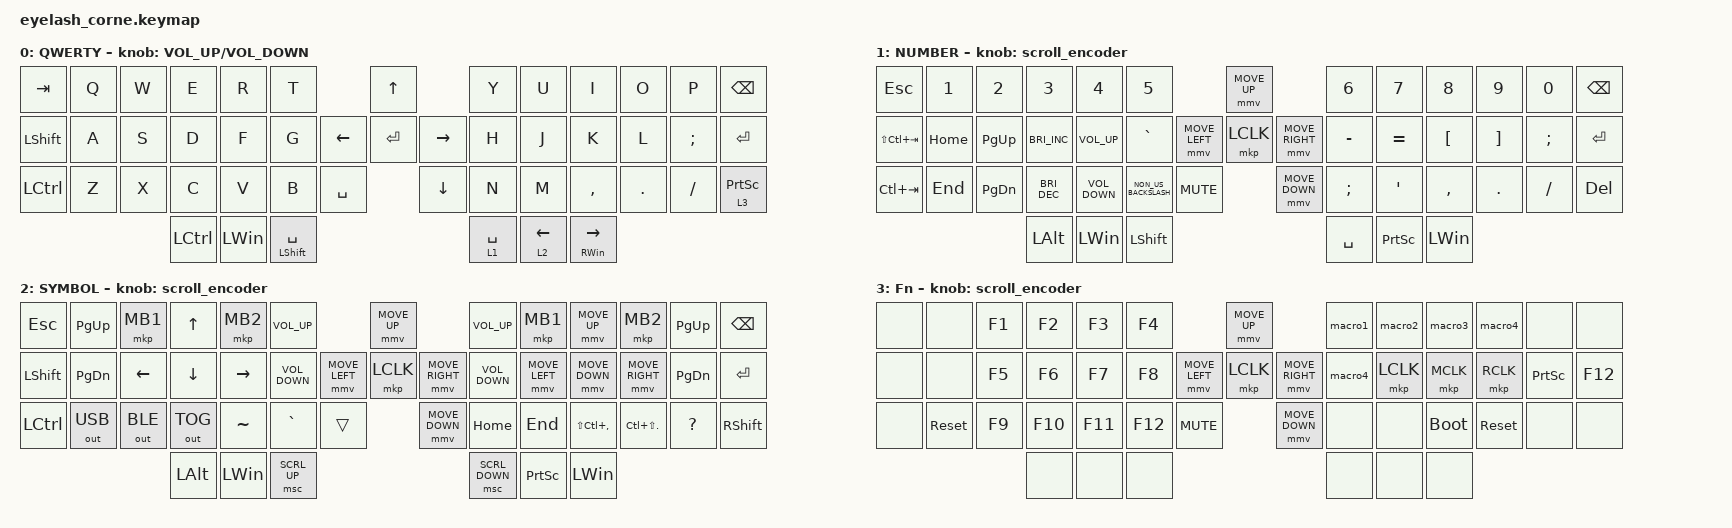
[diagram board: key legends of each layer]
#define ZMK_POINTING_DEFAULT_MOVE_VAL 1200  // 600
#define ZMK_POINTING_DEFAULT_SCRL_VAL 25   // 10

#include <input/processors.dtsi>
#include <zephyr/dt-bindings/input/input-event-codes.h>
#include <behaviors.dtsi>
#include <dt-bindings/zmk/keys.h>
#include <dt-bindings/zmk/outputs.h>
#include <dt-bindings/zmk/pointing.h>
#include <dt-bindings/zmk/rgb.h>

&mmv_input_listener { input-processors = <&zip_xy_scaler 2 1>; };

&msc_input_listener { input-processors = <&zip_scroll_scaler 2 1>; };

&msc {
    acceleration-exponent = <1>;      // 0
    time-to-max-speed-ms = <100>;       // 300
    delay-ms = <0>;                   // 0
};

&mmv {
    time-to-max-speed-ms = <500>;
    acceleration-exponent = <1>;
    trigger-period-ms = <16>;
};

/ {
    behaviors {
        td0: td0 {
            compatible = "zmk,behavior-tap-dance";
            display-name = "Shift/Caps Lock Tap Dance";
            #binding-cells = <0>;
            bindings = <&kp LEFT_SHIFT>, <&kp CAPS>;
        };
    };

    rgb_encoder: rgb_encoder {
        compatible = "zmk,behavior-sensor-rotate";
        #sensor-binding-cells = <0>;
        bindings = <&rgb_ug RGB_BRI>, <&rgb_ug RGB_BRD>;
    };

    scroll_encoder: scroll_encoder {
        compatible = "zmk,behavior-sensor-rotate";
        #sensor-binding-cells = <0>;
        bindings = <&msc SCRL_DOWN>, <&msc SCRL_UP>;

        tap-ms = <100>;
    };

    combos {
        compatible = "zmk,combos";

        qa-1 {
            bindings = <&kp NUMBER_1>;
            key-positions = <1 14>;
            timeout-ms = <50>;
            require-prior-idle-ms = <30>;
            layers = <0>;
        };

        ws-2 {
            bindings = <&kp NUMBER_2>;
            key-positions = <2 15>;
            timeout-ms = <50>;
            require-prior-idle-ms = <30>;
            layers = <0>;
        };

        ed-3 {
            bindings = <&kp NUMBER_3>;
            key-positions = <3 16>;
            timeout-ms = <50>;
            require-prior-idle-ms = <30>;
            layers = <0>;
        };

        rf-4 {
            bindings = <&kp NUMBER_4>;
            key-positions = <4 17>;
            timeout-ms = <50>;
            require-prior-idle-ms = <30>;
            layers = <0>;
        };

        tg-5 {
            bindings = <&kp N5>;
            key-positions = <5 18>;
            timeout-ms = <50>;
            require-prior-idle-ms = <30>;
            layers = <0>;
        };

        yh-6 {
            bindings = <&kp NUMBER_6>;
            key-positions = <7 22>;
            timeout-ms = <50>;
            require-prior-idle-ms = <30>;
            layers = <0>;
        };

        uj-7 {
            bindings = <&kp N7>;
            key-positions = <8 23>;
            timeout-ms = <50>;
            require-prior-idle-ms = <30>;
            layers = <0>;
        };

        ik-8 {
            bindings = <&kp N8>;
            key-positions = <9 24>;
            timeout-ms = <50>;
            require-prior-idle-ms = <30>;
            layers = <0>;
        };

        ol-9 {
            bindings = <&kp N9>;
            key-positions = <10 25>;
            timeout-ms = <50>;
            require-prior-idle-ms = <30>;
            layers = <0>;
        };

        pp-0 {
            bindings = <&kp N0>;
            key-positions = <11 26>;
            timeout-ms = <50>;
            require-prior-idle-ms = <30>;
            layers = <0>;
        };

        bsp {
            bindings = <&kp BACKSPACE>;
            key-positions = <11 10>;
            timeout-ms = <50>;
            require-prior-idle-ms = <30>;
            layers = <0>;
        };

        enter {
            bindings = <&kp RETURN>;
            key-positions = <25 26>;
            timeout-ms = <50>;
            require-prior-idle-ms = <30>;
            layers = <0>;
        };

        delete {
            bindings = <&kp DELETE>;
            key-positions = <9 11>;
            timeout-ms = <50>;
            require-prior-idle-ms = <30>;
            layers = <0>;
        };
    };

    macros {
        macro1: macro1 {
            compatible = "zmk,behavior-macro";
            #binding-cells = <0>;
            bindings = <&none &kp N1 &kp N7 &kp N7 &kp N1 &kp N0 &kp N2 &kp N8 &kp N3 &kp N5 &kp N1 &kp N2>;
            label = "MACRO1";
            wait-ms = <10>;
            tap-ms = <30>;
        };

        macro2: macro2 {
            compatible = "zmk,behavior-macro";
            #binding-cells = <0>;
            bindings = <&none &kp A &kp M &kp Y &kp V &kp O &kp I &kp C &kp E &kp AT &kp N1 &kp N6 &kp N3 &kp DOT &kp C &kp O &kp M>;
            label = "MACRO2";
            wait-ms = <10>;
            tap-ms = <30>;
        };

        macro3: macro3 {
            compatible = "zmk,behavior-macro";
            #binding-cells = <0>;
            bindings = <&none &kp LS(V) &kp LS(L) &kp LS(O) &kp LS(O) &kp LS(K) &kp LS(U) &kp LS(P) &kp LS(A) &kp N2 &kp COMMA &kp DLLR &kp LS(G) &kp DLLR &kp N1 &kp COLON &kp DLLR &kp LS(H) &kp DLLR &kp N1 &kp N5 &kp N8 &kp COMMA &kp N2 &kp COMMA &kp N0 &kp RPAR>;
            label = "MACRO3";
            wait-ms = <10>;
            tap-ms = <30>;
        };

        macro4: macro4 {
            compatible = "zmk,behavior-macro";
            #binding-cells = <0>;
            bindings = <&none &kp A &kp M &kp Y &kp V &kp O &kp I &kp C &kp E &kp C &kp H &kp E &kp N &kp N0 &kp N0 &kp N1 &kp AT &kp G &kp M &kp A &kp I &kp L &kp DOT &kp C &kp O &kp M>;
            label = "MACRO4";
            wait-ms = <10>;
            tap-ms = <30>;
        };
    };

    keymap {
        compatible = "zmk,keymap";

        default_layer {
            display-name = "QWERTY";
            bindings = <
&kp TAB         &kp Q  &kp W  &kp E      &kp R         &kp T                                        &kp UP                &kp Y        &kp U             &kp I                      &kp O    &kp P     &kp BSPC
&kp LEFT_SHIFT  &kp A  &kp S  &kp D      &kp F         &kp G                              &kp LEFT  &kp ENTER  &kp RIGHT  &kp H        &kp J             &kp K                      &kp L    &kp SEMI  &kp RETURN
&kp LCTRL       &kp Z  &kp X  &kp C      &kp V         &kp B                 &kp SPACE              &kp DOWN              &kp N        &kp M             &kp COMMA                  &kp DOT  &kp FSLH  &lt 3 PRINTSCREEN
                              &kp LCTRL  &kp LEFT_WIN  &mt LEFT_SHIFT SPACE                                               &lt 1 SPACE  &lt 2 LEFT_ARROW  &mt RIGHT_WIN RIGHT_ARROW
            >;

            sensor-bindings = <&inc_dec_kp C_VOLUME_UP C_VOLUME_DOWN>;
        };

        Number {
            display-name = "NUMBER";
            bindings = <
&kp ESCAPE       &kp N1    &kp N2         &kp N3                &kp N4             &kp N5                                              &mmv MOVE_UP                     &kp N6         &kp N7           &kp N8            &kp N9             &kp N0         &kp BSPC
&kp LS(LC(TAB))  &kp HOME  &kp PAGE_UP    &kp C_BRIGHTNESS_INC  &kp C_VOLUME_UP    &kp GRAVE                           &mmv MOVE_LEFT  &mkp LCLK       &mmv MOVE_RIGHT  &kp MINUS      &kp EQUAL        &kp LEFT_BRACKET  &kp RIGHT_BRACKET  &kp SEMICOLON  &kp ENTER
&kp LC(TAB)      &kp END   &kp PAGE_DOWN  &kp C_BRIGHTNESS_DEC  &kp C_VOLUME_DOWN  &kp NON_US_BACKSLASH  &kp C_MUTE                    &mmv MOVE_DOWN                   &kp SEMICOLON  &kp SQT          &kp COMMA         &kp PERIOD         &kp SLASH      &kp DELETE
                                          &kp LEFT_ALT          &kp LEFT_WIN       &kp LEFT_SHIFT                                                                       &kp SPACE      &kp PRINTSCREEN  &kp LEFT_WIN
            >;

            sensor-bindings = <&scroll_encoder>;
        };

        Mouse {
            display-name = "SYMBOL";
            bindings = <
&kp ESCAPE      &kp PAGE_UP    &mkp MB1      &kp UP          &mkp MB2         &kp C_VOLUME_UP                              &mmv MOVE_UP                     &kp C_VOLUME_UP    &mkp MB1         &mmv MOVE_UP       &mkp MB2            &kp PAGE_UP    &kp BSPC
&kp LEFT_SHIFT  &kp PAGE_DOWN  &kp LEFT      &kp DOWN_ARROW  &kp RIGHT_ARROW  &kp C_VOLUME_DOWN            &mmv MOVE_LEFT  &mkp LCLK       &mmv MOVE_RIGHT  &kp C_VOLUME_DOWN  &mmv MOVE_LEFT   &mmv MOVE_DOWN     &mmv MOVE_RIGHT     &kp PAGE_DOWN  &kp RETURN
&kp LCTRL       &out OUT_USB   &out OUT_BLE  &out OUT_TOG    &kp TILDE        &kp GRAVE          &trans                    &mmv MOVE_DOWN                   &kp HOME           &kp END          &kp LS(LC(COMMA))  &kp LC(LS(PERIOD))  &kp QUESTION   &kp RIGHT_SHIFT
                                             &kp LEFT_ALT    &kp LEFT_WIN     &msc SCRL_UP                                                                  &msc SCRL_DOWN     &kp PRINTSCREEN  &kp LEFT_WIN
            >;

            sensor-bindings = <&scroll_encoder>;
        };

        FuncAndMacro {
            display-name = "Fn";
            bindings = <
&none  &none       &kp F1  &kp F2   &kp F3   &kp F4                                 &mmv MOVE_UP                     &macro1  &macro2    &macro3      &macro4     &none            &none
&none  &none       &kp F5  &kp F6   &kp F7   &kp F8                 &mmv MOVE_LEFT  &mkp LCLK       &mmv MOVE_RIGHT  &macro4  &mkp LCLK  &mkp MCLK    &mkp RCLK   &kp PRINTSCREEN  &kp F12
&none  &sys_reset  &kp F9  &kp F10  &kp F11  &kp F12  &kp C_MUTE                    &mmv MOVE_DOWN                   &none    &none      &bootloader  &sys_reset  &none            &none
                           &none    &none    &none                                                                   &none    &none      &none
            >;

            sensor-bindings = <&scroll_encoder>;
        };
    };
};
